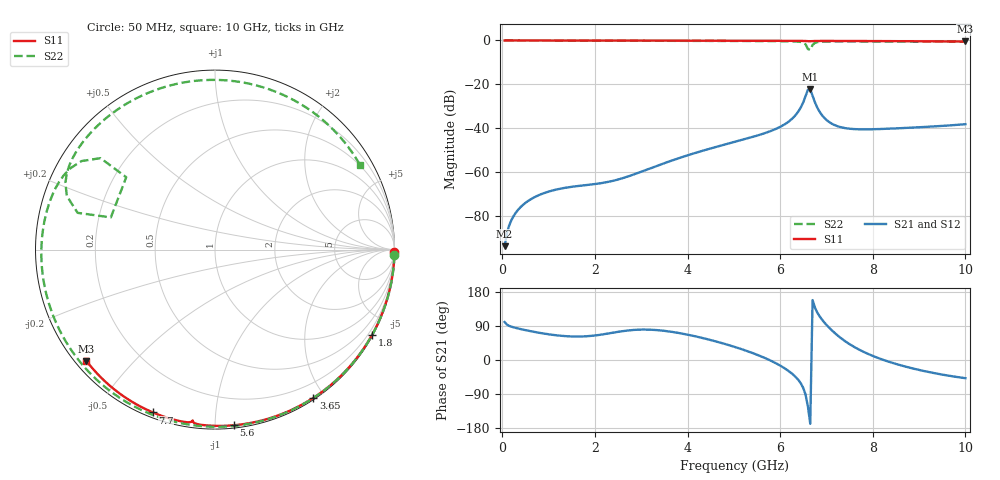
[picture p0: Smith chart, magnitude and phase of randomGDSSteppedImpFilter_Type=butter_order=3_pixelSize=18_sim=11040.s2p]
! freq	dB(S11)	phase(S11)	dB(S12)	phase(S12)
!  dB(S21)	phase(S21)	dB(S22)	phase(S22)
!S-par simulation data
#  GHz  S  DB  R 50
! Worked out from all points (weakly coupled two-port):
!   200 points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, 50 MHz to 10 GHz, reference 50 ohm
!   highest |S21| = -22.26 dB at 6.65 GHz (marker M1); lowest = -93.6 dB at 50 MHz (marker M2)
!   lowest |S11| = -0.5 dB at 10 GHz (marker M3), VSWR 36.94, Z = 1.54 - j18.6 ohm
!   |S11| at or under -10 dB: nowhere
!   |S22| runs from -4.3 to 0.0 dB; largest |S21 - S12| = 0
!   S11 on the Smith chart (normalised r, x): 50 MHz: open; 1.8 GHz: 0.03, -3.93; 3.65 GHz: 0.02, -1.86; 5.6 GHz: 0.02, -1.11; 7.7 GHz: 0.02, -0.69; 10 GHz: 0.03, -0.37
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0.05  -0.00 -0.8  -93.60 100.2  -93.60 100.2  -0.00 -1.7
0.25  -0.00 -4.0  -79.69 86.0  -79.69 86.0  -0.00 -8.5
0.5  -0.01 -8.0  -73.89 78.7  -73.89 78.7  -0.01 -17.0
0.85  -0.02 -13.6  -69.85 70.7  -69.85 70.7  -0.03 -28.8
1.75  -0.04 -27.8  -65.95 62.2  -65.95 62.2  -0.07 -58.4
1.8  -0.04 -28.5  -65.84 62.5  -65.84 62.5  -0.08 -60.0
2.6  -0.05 -40.8  -62.66 76.2  -62.66 76.2  -0.11 -85.2
3.4  -0.07 -52.8  -56.59 78.2  -56.59 78.2  -0.14 -109.6
3.65  -0.08 -56.5  -54.71 74.5  -54.71 74.5  -0.15 -117.0
5.05  -0.12 -76.4  -45.97 33.3  -45.97 33.3  -0.23 -158.9
5.6  -0.14 -83.9  -42.66 9.0  -42.66 9.0  -0.28 -176.0
6.25  -0.17 -92.6  -35.77 -35.5  -35.77 -35.5  -0.40 161.1
6.55  -0.25 -97.0  -25.27 -91.9  -25.27 -91.9  -1.76 141.4
6.6  -0.33 -97.5  -22.43 -123.2  -22.43 -123.2  -3.90 140.8
6.65  -0.35 -97.4  -22.26 -168.2  -22.26 -168.2  -4.33 162.8
6.7  -0.28 -97.8  -25.10 158.1  -25.10 158.1  -2.02 165.0
6.85  -0.22 -99.9  -32.38 115.6  -32.38 115.6  -0.64 152.6
7.05  -0.22 -102.6  -36.99 86.2  -36.99 86.2  -0.46 142.8
7.7  -0.26 -110.9  -40.42 27.7  -40.42 27.7  -0.45 117.7
8.35  -0.31 -119.0  -40.15 -4.7  -40.15 -4.7  -0.48 93.3
9.1  -0.37 -128.2  -39.38 -28.9  -39.38 -28.9  -0.52 64.4
10  -0.47 -139.1  -38.10 -48.0  -38.10 -48.0  -0.58 30.1
